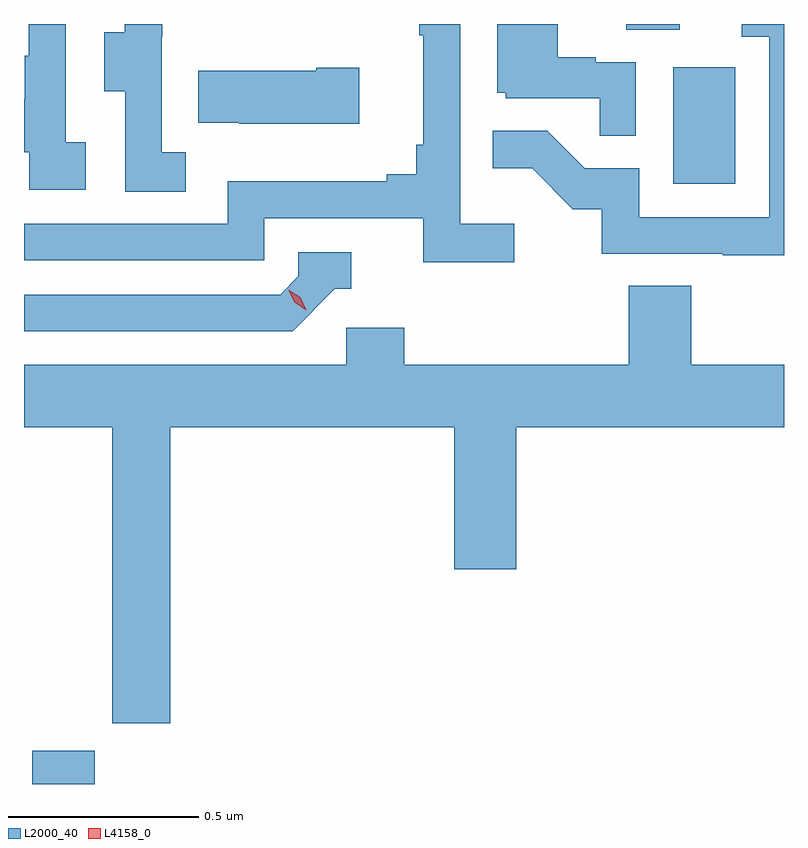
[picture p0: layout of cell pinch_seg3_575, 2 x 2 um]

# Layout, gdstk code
import gdstk
lib = gdstk.Library(unit=1e-6, precision=1e-09)
def R(c, l, rs):  # rectangles x0, y0, x1, y1
    for r in rs: c.add(gdstk.rectangle(r[:2], r[2:], *l))
def P(c, l, *ps):  # polygons
    for p in ps: c.add(gdstk.Polygon(p, *l))
L2000_40 = (2000, 40)
L4158_0 = (4158, 0)

pinch_seg3_575 = lib.new_cell('pinch_seg3_575')
R(pinch_seg3_575, L2000_40, [(1110.95,686.657,1111.114,686.745), (1112.636,688.236,1112.8,688.543), (1112.513,688.642,1112.653,688.657)])
P(pinch_seg3_575, L2000_40, [(1111.354,688.319),(1111.29,688.319),(1111.29,688.623),(1111.292,688.623),(1111.292,688.657),(1111.193,688.657),(1111.193,688.635),(1111.139,688.635),(1111.139,688.48),(1111.194,688.48),(1111.194,688.216),(1111.354,688.216)],
  [(1111.09,688.346),(1111.038,688.346),(1111.038,688.657),(1110.94,688.657),(1110.94,688.574),(1110.93,688.574),(1110.93,688.459),(1110.928,688.459),(1110.928,688.319),(1110.942,688.319),(1110.942,688.221),(1111.09,688.221)],
  [(1112.218,688.132),(1112.076,688.132),(1112.076,688.657),(1111.968,688.657),(1111.968,688.627),(1111.979,688.627),(1111.979,688.339),(1111.96,688.339),(1111.96,688.262),(1111.883,688.262),(1111.883,688.243),(1111.464,688.243),(1111.464,688.131),(1110.928,688.131),(1110.928,688.035),(1111.56,688.035),(1111.56,688.146),(1111.979,688.146),(1111.979,688.03),(1112.218,688.03)],
  [(1112.538,688.557),(1112.432,688.557),(1112.432,688.57),(1112.332,688.57),(1112.332,688.657),(1112.174,688.657),(1112.174,688.476),(1112.196,688.476),(1112.196,688.461),(1112.443,688.461),(1112.443,688.363),(1112.538,688.363)],
  [(1112.928,688.657),(1112.817,688.657),(1112.817,688.623),(1112.889,688.623),(1112.889,688.149),(1112.547,688.149),(1112.547,688.278),(1112.403,688.278),(1112.305,688.376),(1112.161,688.376),(1112.161,688.277),(1112.265,688.277),(1112.372,688.17),(1112.449,688.17),(1112.449,688.053),(1112.767,688.053),(1112.767,688.048),(1112.928,688.048)],
  [(1111.81,688.542),(1111.697,688.542),(1111.697,688.534),(1111.387,688.534),(1111.387,688.397),(1111.495,688.397),(1111.495,688.394),(1111.81,688.394)],
  [(1111.746,687.96),(1111.789,687.96),(1111.789,688.056),(1111.65,688.056),(1111.65,687.993),(1111.602,687.945),(1110.928,687.945),(1110.928,687.849),(1111.635,687.849)],
  [(1111.313,687.596),(1112.06,687.596),(1112.06,687.222),(1112.224,687.222),(1112.224,687.596),(1112.928,687.596),(1112.928,687.76),(1112.684,687.76),(1112.684,687.968),(1112.519,687.968),(1112.519,687.76),(1111.928,687.76),(1111.928,687.858),(1111.776,687.858),(1111.776,687.76),(1110.928,687.76),(1110.928,687.596),(1111.16,687.596),(1111.16,686.817),(1111.313,686.817)])
P(pinch_seg3_575, L4158_0, [(1111.671,687.904),(1111.64,687.925),(1111.624,687.958),(1111.624,687.958),(1111.624,687.958),(1111.655,687.938),(1111.671,687.904),(1111.671,687.904)])

lib.write_gds('pinch_seg3_575.gds')
